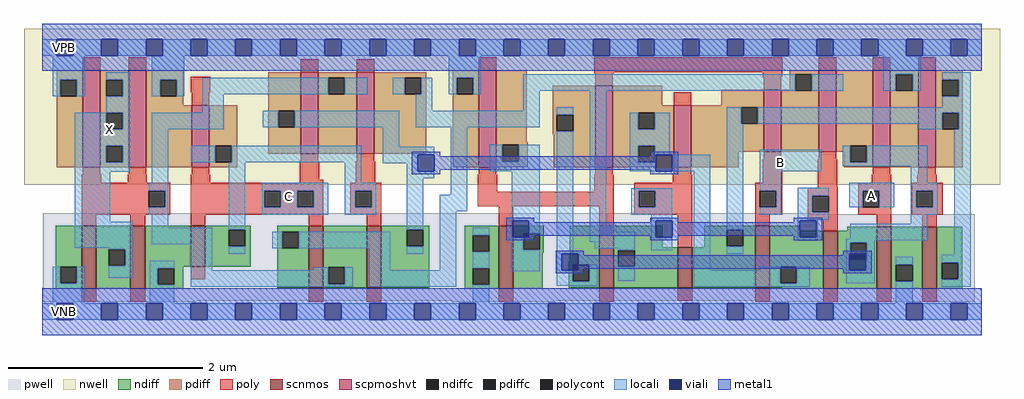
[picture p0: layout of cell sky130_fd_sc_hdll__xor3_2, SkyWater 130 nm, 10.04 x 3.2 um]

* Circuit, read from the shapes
.subckt sky130_fd_sc_hdll__xor3_2 A B C VGND VNB VPB VPWR X
XM1 X n1 VGND VNB sky130_fd_pr__nfet_01v8 w=0.65 l=0.15 m=2
XM2 n2 C VGND VNB sky130_fd_pr__nfet_01v8 w=0.42 l=0.15
XM3 n1 C n3 VNB sky130_fd_pr__nfet_01v8 w=0.64 l=0.15
XM4 n4 n2 n1 VNB sky130_fd_pr__nfet_01v8 w=0.64 l=0.15
XM5 n5 B VGND VNB sky130_fd_pr__nfet_01v8 w=0.65 l=0.15
XM6 n3 B n6 VNB sky130_fd_pr__nfet_01v8 w=0.64 l=0.15
XM7 n7 n5 n3 VNB sky130_fd_pr__nfet_01v8 w=0.42 l=0.15
XM8 n4 B n7 VNB sky130_fd_pr__nfet_01v8 w=0.64 l=0.15
XM9 n6 n5 n4 VNB sky130_fd_pr__nfet_01v8 w=0.6 l=0.15
XM10 VGND A n6 VNB sky130_fd_pr__nfet_01v8 w=0.64 l=0.15
XM11 n7 n6 VGND VNB sky130_fd_pr__nfet_01v8 w=0.64 l=0.15
XM12 X n1 VPWR VPB sky130_fd_pr__pfet_01v8_hvt w=1 l=0.18 m=2
XM13 n2 C VPWR VPB sky130_fd_pr__pfet_01v8_hvt w=0.64 l=0.18
XM14 n1 C n4 VPB sky130_fd_pr__pfet_01v8_hvt w=0.84 l=0.18
XM15 n3 n2 n1 VPB sky130_fd_pr__pfet_01v8_hvt w=0.84 l=0.18
XM16 n5 B VPWR VPB sky130_fd_pr__pfet_01v8_hvt w=1 l=0.18
XM17 n4 B n6 VPB sky130_fd_pr__pfet_01v8_hvt w=0.84 l=0.18
XM18 n7 n5 n4 VPB sky130_fd_pr__pfet_01v8_hvt w=0.64 l=0.18
XM19 n3 B n7 VPB sky130_fd_pr__pfet_01v8_hvt w=0.64 l=0.18
XM20 n6 n5 n3 VPB sky130_fd_pr__pfet_01v8_hvt w=0.84 l=0.18
XM21 VPWR A n6 VPB sky130_fd_pr__pfet_01v8_hvt w=1 l=0.18
XM22 n7 n6 VPWR VPB sky130_fd_pr__pfet_01v8_hvt w=1 l=0.18
.ends

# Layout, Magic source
magic
tech sky130A
magscale 1 2
<< nwell >>
rect -38 261 1970 582
<< pwell >>
rect 1 201 1582 203
rect 1 23 1918 201
rect 1 21 316 23
rect 843 21 1055 23
rect 1497 21 1918 23
rect 29 -17 63 21
<< scnmos >>
rect 81 47 111 177
rect 181 47 211 177
rect 305 93 335 177
rect 548 49 578 177
rect 667 49 697 177
rect 939 47 969 177
rect 1145 49 1175 177
rect 1307 49 1337 133
rect 1466 49 1496 177
rect 1606 47 1636 167
rect 1716 47 1746 175
rect 1810 47 1840 175
<< scpmoshvt >>
rect 83 297 119 497
rect 177 297 213 497
rect 307 297 343 425
rect 531 325 567 493
rect 647 325 683 493
rect 898 297 934 497
rect 1137 297 1173 465
rect 1299 297 1335 425
rect 1484 329 1520 457
rect 1597 329 1633 497
rect 1708 297 1744 497
rect 1802 297 1838 497
<< ndiff >>
rect 27 93 81 177
rect 27 59 37 93
rect 71 59 81 93
rect 27 47 81 59
rect 111 129 181 177
rect 111 95 136 129
rect 170 95 181 129
rect 111 47 181 95
rect 211 93 305 177
rect 335 169 429 177
rect 335 135 383 169
rect 417 135 429 169
rect 335 93 429 135
rect 483 165 548 177
rect 483 131 493 165
rect 527 131 548 165
rect 211 89 290 93
rect 211 55 237 89
rect 271 55 290 89
rect 211 47 290 55
rect 483 49 548 131
rect 578 91 667 177
rect 578 57 588 91
rect 622 57 667 91
rect 578 49 667 57
rect 697 169 796 177
rect 697 135 749 169
rect 783 135 796 169
rect 697 49 796 135
rect 869 157 939 177
rect 869 123 885 157
rect 919 123 939 157
rect 869 89 939 123
rect 869 55 885 89
rect 919 55 939 89
rect 869 47 939 55
rect 969 161 1031 177
rect 969 127 989 161
rect 1023 127 1031 161
rect 969 121 1031 127
rect 969 47 1029 121
rect 1085 105 1145 177
rect 1083 97 1145 105
rect 1083 63 1091 97
rect 1125 63 1145 97
rect 1083 49 1145 63
rect 1175 133 1276 177
rect 1362 169 1466 177
rect 1362 135 1408 169
rect 1442 135 1466 169
rect 1362 133 1466 135
rect 1175 126 1307 133
rect 1175 92 1185 126
rect 1219 92 1307 126
rect 1175 49 1307 92
rect 1337 49 1466 133
rect 1496 167 1556 177
rect 1656 167 1716 175
rect 1496 93 1606 167
rect 1496 59 1518 93
rect 1552 59 1606 93
rect 1496 49 1606 59
rect 1523 47 1606 49
rect 1636 142 1716 167
rect 1636 108 1662 142
rect 1696 108 1716 142
rect 1636 47 1716 108
rect 1746 97 1810 175
rect 1746 63 1756 97
rect 1790 63 1810 97
rect 1746 47 1810 63
rect 1840 101 1892 175
rect 1840 67 1850 101
rect 1884 67 1892 101
rect 1840 47 1892 67
<< pdiff >>
rect 29 477 83 497
rect 29 443 37 477
rect 71 443 83 477
rect 29 297 83 443
rect 119 477 177 497
rect 119 443 131 477
rect 165 443 177 477
rect 119 409 177 443
rect 119 375 131 409
rect 165 375 177 409
rect 119 341 177 375
rect 119 307 131 341
rect 165 307 177 341
rect 119 297 177 307
rect 213 477 290 497
rect 213 443 242 477
rect 276 443 290 477
rect 213 425 290 443
rect 213 297 307 425
rect 343 341 401 425
rect 343 307 355 341
rect 389 307 401 341
rect 465 413 531 493
rect 465 379 485 413
rect 519 379 531 413
rect 465 325 531 379
rect 567 481 647 493
rect 567 447 588 481
rect 622 447 647 481
rect 567 325 647 447
rect 683 481 790 493
rect 683 447 745 481
rect 779 447 790 481
rect 683 325 790 447
rect 844 481 898 497
rect 844 447 852 481
rect 886 447 898 481
rect 343 297 401 307
rect 844 297 898 447
rect 934 349 996 497
rect 1537 489 1597 497
rect 1050 405 1137 465
rect 1050 371 1058 405
rect 1092 371 1137 405
rect 1050 365 1137 371
rect 934 343 998 349
rect 934 309 946 343
rect 980 309 998 343
rect 934 297 998 309
rect 1052 297 1137 365
rect 1173 425 1275 465
rect 1537 457 1549 489
rect 1397 425 1484 457
rect 1173 409 1299 425
rect 1173 375 1226 409
rect 1260 375 1299 409
rect 1173 341 1299 375
rect 1173 307 1226 341
rect 1260 307 1299 341
rect 1173 297 1299 307
rect 1335 421 1484 425
rect 1335 387 1438 421
rect 1472 387 1484 421
rect 1335 329 1484 387
rect 1520 455 1549 457
rect 1583 455 1597 489
rect 1520 329 1597 455
rect 1633 341 1708 497
rect 1633 329 1662 341
rect 1335 297 1432 329
rect 1650 307 1662 329
rect 1696 307 1708 341
rect 1650 297 1708 307
rect 1744 489 1802 497
rect 1744 455 1756 489
rect 1790 455 1802 489
rect 1744 297 1802 455
rect 1838 477 1893 497
rect 1838 443 1851 477
rect 1885 443 1893 477
rect 1838 409 1893 443
rect 1838 375 1851 409
rect 1885 375 1893 409
rect 1838 297 1893 375
<< ndiffc >>
rect 37 59 71 93
rect 136 95 170 129
rect 383 135 417 169
rect 493 131 527 165
rect 237 55 271 89
rect 588 57 622 91
rect 749 135 783 169
rect 885 123 919 157
rect 885 55 919 89
rect 989 127 1023 161
rect 1091 63 1125 97
rect 1408 135 1442 169
rect 1185 92 1219 126
rect 1518 59 1552 93
rect 1662 108 1696 142
rect 1756 63 1790 97
rect 1850 67 1884 101
<< pdiffc >>
rect 37 443 71 477
rect 131 443 165 477
rect 131 375 165 409
rect 131 307 165 341
rect 242 443 276 477
rect 355 307 389 341
rect 485 379 519 413
rect 588 447 622 481
rect 745 447 779 481
rect 852 447 886 481
rect 1058 371 1092 405
rect 946 309 980 343
rect 1226 375 1260 409
rect 1226 307 1260 341
rect 1438 387 1472 421
rect 1549 455 1583 489
rect 1662 307 1696 341
rect 1756 455 1790 489
rect 1851 443 1885 477
rect 1851 375 1885 409
<< poly >>
rect 83 497 119 523
rect 177 497 213 523
rect 531 493 567 519
rect 647 493 683 519
rect 898 497 934 523
rect 305 451 345 483
rect 307 425 343 451
rect 531 310 567 325
rect 647 310 683 325
rect 83 282 119 297
rect 177 282 213 297
rect 307 282 343 297
rect 81 265 121 282
rect 175 265 215 282
rect 305 265 345 282
rect 529 271 569 310
rect 529 265 578 271
rect 645 265 685 310
rect 1135 493 1522 523
rect 1597 497 1633 523
rect 1708 497 1744 523
rect 1802 497 1838 523
rect 1135 491 1175 493
rect 1137 465 1173 491
rect 1482 483 1522 493
rect 1484 457 1520 483
rect 1299 425 1335 451
rect 1484 314 1520 329
rect 1597 314 1633 329
rect 898 282 934 297
rect 1137 282 1173 297
rect 1299 282 1335 297
rect 81 249 263 265
rect 81 215 219 249
rect 253 215 263 249
rect 81 199 263 215
rect 305 249 578 265
rect 305 215 456 249
rect 490 215 524 249
rect 558 215 578 249
rect 305 199 578 215
rect 633 249 697 265
rect 633 215 643 249
rect 677 215 697 249
rect 896 247 936 282
rect 1135 247 1175 282
rect 1297 265 1337 282
rect 1482 265 1522 314
rect 896 217 1175 247
rect 633 199 697 215
rect 81 177 111 199
rect 181 177 211 199
rect 305 177 335 199
rect 548 177 578 199
rect 667 177 697 199
rect 939 177 969 217
rect 1145 177 1175 217
rect 1217 249 1337 265
rect 1217 215 1227 249
rect 1261 215 1337 249
rect 1217 199 1337 215
rect 305 67 335 93
rect 81 21 111 47
rect 181 21 211 47
rect 548 21 578 49
rect 667 21 697 49
rect 1307 133 1337 199
rect 1466 249 1522 265
rect 1595 256 1635 314
rect 1708 282 1744 297
rect 1802 282 1838 297
rect 1706 265 1746 282
rect 1800 265 1840 282
rect 1595 255 1636 256
rect 1466 215 1476 249
rect 1510 215 1522 249
rect 1466 199 1522 215
rect 1574 239 1636 255
rect 1574 205 1584 239
rect 1618 205 1636 239
rect 1466 177 1496 199
rect 1574 189 1636 205
rect 1678 249 1746 265
rect 1678 215 1688 249
rect 1722 215 1746 249
rect 1678 199 1746 215
rect 1788 249 1852 265
rect 1788 215 1798 249
rect 1832 215 1852 249
rect 1788 199 1852 215
rect 1606 167 1636 189
rect 1716 175 1746 199
rect 1810 175 1840 199
rect 939 21 969 47
rect 1145 21 1175 49
rect 1307 23 1337 49
rect 1466 21 1496 49
rect 1606 21 1636 47
rect 1716 21 1746 47
rect 1810 21 1840 47
<< polycont >>
rect 219 215 253 249
rect 456 215 490 249
rect 524 215 558 249
rect 643 215 677 249
rect 1227 215 1261 249
rect 1476 215 1510 249
rect 1584 205 1618 239
rect 1688 215 1722 249
rect 1798 215 1832 249
<< locali >>
rect 0 527 29 561
rect 63 527 121 561
rect 155 527 213 561
rect 247 527 305 561
rect 339 527 397 561
rect 431 527 489 561
rect 523 527 581 561
rect 615 527 673 561
rect 707 527 765 561
rect 799 527 857 561
rect 891 527 949 561
rect 983 527 1041 561
rect 1075 527 1133 561
rect 1167 527 1225 561
rect 1259 527 1317 561
rect 1351 527 1409 561
rect 1443 527 1501 561
rect 1535 527 1593 561
rect 1627 527 1685 561
rect 1719 527 1777 561
rect 1811 527 1869 561
rect 1903 527 1932 561
rect 21 477 87 527
rect 21 443 37 477
rect 71 443 87 477
rect 131 477 181 493
rect 165 443 181 477
rect 225 477 292 527
rect 836 481 902 527
rect 1730 489 1807 527
rect 225 443 242 477
rect 276 443 292 477
rect 329 447 588 481
rect 622 447 668 481
rect 721 447 745 481
rect 779 447 802 481
rect 836 447 852 481
rect 886 447 902 481
rect 989 455 1549 489
rect 1583 455 1648 489
rect 1730 455 1756 489
rect 1790 455 1807 489
rect 1851 477 1910 493
rect 131 409 181 443
rect 329 409 373 447
rect 768 413 802 447
rect 989 413 1023 455
rect 66 375 131 409
rect 165 375 181 409
rect 66 341 181 375
rect 66 307 131 341
rect 165 307 181 341
rect 66 288 181 307
rect 225 375 373 409
rect 453 379 485 413
rect 519 379 734 413
rect 768 379 1023 413
rect 1058 405 1092 421
rect 66 185 139 288
rect 225 265 259 375
rect 306 307 355 341
rect 389 307 656 341
rect 219 249 259 265
rect 253 215 259 249
rect 219 199 259 215
rect 66 132 186 185
rect 225 173 259 199
rect 225 139 349 173
rect 136 129 186 132
rect 170 95 186 129
rect 21 59 37 93
rect 71 59 87 93
rect 136 70 186 95
rect 221 89 271 105
rect 21 17 87 59
rect 221 55 237 89
rect 221 17 271 55
rect 305 85 349 139
rect 383 169 417 307
rect 622 265 656 307
rect 700 339 734 379
rect 700 323 806 339
rect 700 305 772 323
rect 749 289 772 305
rect 749 275 806 289
rect 451 249 588 265
rect 451 215 456 249
rect 490 215 524 249
rect 558 215 588 249
rect 451 199 588 215
rect 622 249 687 265
rect 622 215 643 249
rect 677 215 687 249
rect 622 199 687 215
rect 749 169 783 275
rect 840 241 874 379
rect 920 309 946 343
rect 980 309 1023 343
rect 920 289 1023 309
rect 383 119 417 135
rect 473 131 493 165
rect 527 131 715 165
rect 557 85 588 91
rect 305 57 588 85
rect 622 57 638 91
rect 305 51 638 57
rect 672 85 715 131
rect 749 119 783 135
rect 817 207 874 241
rect 817 85 851 207
rect 965 187 1023 289
rect 672 51 851 85
rect 885 157 919 173
rect 885 89 919 123
rect 965 153 966 187
rect 1000 161 1023 187
rect 965 127 989 153
rect 965 83 1023 127
rect 1058 119 1092 371
rect 1126 178 1160 455
rect 1885 443 1910 477
rect 1851 421 1910 443
rect 1208 375 1226 409
rect 1260 375 1291 409
rect 1208 341 1291 375
rect 1208 307 1226 341
rect 1260 323 1291 341
rect 1408 387 1438 421
rect 1472 409 1910 421
rect 1472 387 1851 409
rect 1260 307 1262 323
rect 1208 289 1262 307
rect 1296 289 1374 323
rect 1211 249 1296 254
rect 1211 215 1227 249
rect 1261 215 1296 249
rect 1211 199 1296 215
rect 1253 187 1296 199
rect 1126 165 1180 178
rect 1126 144 1219 165
rect 1136 131 1219 144
rect 1185 126 1219 131
rect 1253 153 1262 187
rect 1253 126 1296 153
rect 1058 85 1068 119
rect 885 17 919 55
rect 1058 63 1091 85
rect 1125 63 1141 97
rect 1185 64 1219 92
rect 1340 85 1374 289
rect 1408 169 1442 387
rect 1803 375 1851 387
rect 1885 375 1910 409
rect 1476 289 1602 333
rect 1646 307 1662 341
rect 1696 307 1820 341
rect 1646 299 1820 307
rect 1476 249 1520 289
rect 1786 265 1820 299
rect 1510 215 1520 249
rect 1476 199 1520 215
rect 1554 239 1618 255
rect 1554 205 1584 239
rect 1660 249 1752 265
rect 1660 215 1688 249
rect 1722 215 1752 249
rect 1786 249 1842 265
rect 1786 215 1798 249
rect 1832 215 1842 249
rect 1554 189 1618 205
rect 1786 199 1842 215
rect 1554 187 1595 189
rect 1554 153 1558 187
rect 1592 153 1595 187
rect 1786 181 1820 199
rect 1554 146 1595 153
rect 1662 150 1820 181
rect 1654 147 1820 150
rect 1408 119 1442 135
rect 1654 142 1712 147
rect 1654 119 1662 142
rect 1476 85 1518 93
rect 1058 53 1141 63
rect 1340 59 1518 85
rect 1552 59 1579 93
rect 1654 85 1660 119
rect 1696 108 1712 142
rect 1876 117 1910 375
rect 1694 85 1712 108
rect 1654 59 1712 85
rect 1756 97 1790 113
rect 1340 51 1579 59
rect 1756 17 1790 63
rect 1850 101 1910 117
rect 1884 67 1910 101
rect 1850 51 1910 67
rect 0 -17 29 17
rect 63 -17 121 17
rect 155 -17 213 17
rect 247 -17 305 17
rect 339 -17 397 17
rect 431 -17 489 17
rect 523 -17 581 17
rect 615 -17 673 17
rect 707 -17 765 17
rect 799 -17 857 17
rect 891 -17 949 17
rect 983 -17 1041 17
rect 1075 -17 1133 17
rect 1167 -17 1225 17
rect 1259 -17 1317 17
rect 1351 -17 1409 17
rect 1443 -17 1501 17
rect 1535 -17 1593 17
rect 1627 -17 1685 17
rect 1719 -17 1777 17
rect 1811 -17 1869 17
rect 1903 -17 1932 17
<< viali >>
rect 29 527 63 561
rect 121 527 155 561
rect 213 527 247 561
rect 305 527 339 561
rect 397 527 431 561
rect 489 527 523 561
rect 581 527 615 561
rect 673 527 707 561
rect 765 527 799 561
rect 857 527 891 561
rect 949 527 983 561
rect 1041 527 1075 561
rect 1133 527 1167 561
rect 1225 527 1259 561
rect 1317 527 1351 561
rect 1409 527 1443 561
rect 1501 527 1535 561
rect 1593 527 1627 561
rect 1685 527 1719 561
rect 1777 527 1811 561
rect 1869 527 1903 561
rect 772 289 806 323
rect 966 161 1000 187
rect 966 153 989 161
rect 989 153 1000 161
rect 1262 289 1296 323
rect 1262 153 1296 187
rect 1068 97 1102 119
rect 1068 85 1091 97
rect 1091 85 1102 97
rect 1558 153 1592 187
rect 1660 108 1662 119
rect 1662 108 1694 119
rect 1660 85 1694 108
rect 29 -17 63 17
rect 121 -17 155 17
rect 213 -17 247 17
rect 305 -17 339 17
rect 397 -17 431 17
rect 489 -17 523 17
rect 581 -17 615 17
rect 673 -17 707 17
rect 765 -17 799 17
rect 857 -17 891 17
rect 949 -17 983 17
rect 1041 -17 1075 17
rect 1133 -17 1167 17
rect 1225 -17 1259 17
rect 1317 -17 1351 17
rect 1409 -17 1443 17
rect 1501 -17 1535 17
rect 1593 -17 1627 17
rect 1685 -17 1719 17
rect 1777 -17 1811 17
rect 1869 -17 1903 17
<< metal1 >>
rect 0 561 1932 592
rect 0 527 29 561
rect 63 527 121 561
rect 155 527 213 561
rect 247 527 305 561
rect 339 527 397 561
rect 431 527 489 561
rect 523 527 581 561
rect 615 527 673 561
rect 707 527 765 561
rect 799 527 857 561
rect 891 527 949 561
rect 983 527 1041 561
rect 1075 527 1133 561
rect 1167 527 1225 561
rect 1259 527 1317 561
rect 1351 527 1409 561
rect 1443 527 1501 561
rect 1535 527 1593 561
rect 1627 527 1685 561
rect 1719 527 1777 561
rect 1811 527 1869 561
rect 1903 527 1932 561
rect 0 496 1932 527
rect 760 323 818 329
rect 760 289 772 323
rect 806 320 818 323
rect 1250 323 1308 329
rect 1250 320 1262 323
rect 806 292 1262 320
rect 806 289 818 292
rect 760 283 818 289
rect 1250 289 1262 292
rect 1296 289 1308 323
rect 1250 283 1308 289
rect 954 187 1012 193
rect 954 153 966 187
rect 1000 184 1012 187
rect 1250 187 1308 193
rect 1250 184 1262 187
rect 1000 156 1262 184
rect 1000 153 1012 156
rect 954 147 1012 153
rect 1250 153 1262 156
rect 1296 184 1308 187
rect 1546 187 1604 193
rect 1546 184 1558 187
rect 1296 156 1558 184
rect 1296 153 1308 156
rect 1250 147 1308 153
rect 1546 153 1558 156
rect 1592 153 1604 187
rect 1546 147 1604 153
rect 1056 119 1114 125
rect 1056 85 1068 119
rect 1102 116 1114 119
rect 1648 119 1706 125
rect 1648 116 1660 119
rect 1102 88 1660 116
rect 1102 85 1114 88
rect 1056 79 1114 85
rect 1648 85 1660 88
rect 1694 85 1706 119
rect 1648 79 1706 85
rect 0 17 1932 48
rect 0 -17 29 17
rect 63 -17 121 17
rect 155 -17 213 17
rect 247 -17 305 17
rect 339 -17 397 17
rect 431 -17 489 17
rect 523 -17 581 17
rect 615 -17 673 17
rect 707 -17 765 17
rect 799 -17 857 17
rect 891 -17 949 17
rect 983 -17 1041 17
rect 1075 -17 1133 17
rect 1167 -17 1225 17
rect 1259 -17 1317 17
rect 1351 -17 1409 17
rect 1443 -17 1501 17
rect 1535 -17 1593 17
rect 1627 -17 1685 17
rect 1719 -17 1777 17
rect 1811 -17 1869 17
rect 1903 -17 1932 17
rect 0 -48 1932 -17
<< labels >>
flabel locali s 121 357 155 391 0 FreeSans 340 0 0 0 X
port 8 nsew signal output
flabel locali s 490 221 524 255 0 FreeSans 340 0 0 0 C
port 3 nsew signal input
flabel locali s 1502 289 1536 323 0 FreeSans 340 0 0 0 B
port 2 nsew signal input
flabel locali s 1660 215 1752 265 0 FreeSans 340 0 0 0 A
port 1 nsew signal input
flabel pwell s 29 -17 63 17 0 FreeSans 200 0 0 0 VNB
port 5 nsew ground bidirectional
flabel nwell s 29 527 63 561 0 FreeSans 200 0 0 0 VPB
port 6 nsew power bidirectional
flabel metal1 s 29 -17 63 17 0 FreeSans 200 0 0 0 VGND
port 4 nsew ground bidirectional
flabel metal1 s 29 527 63 561 0 FreeSans 200 0 0 0 VPWR
port 7 nsew power bidirectional
rlabel comment s 0 0 0 0 4 xor3_2
<< properties >>
string LEFsite unithd
string LEFclass CORE
string FIXED_BBOX 0 0 1932 544
string GDS_FILE $PDKPATH/libs.ref/sky130_fd_sc_hdll/gds/sky130_fd_sc_hdll.gds
string LEFsymmetry X Y R90
string GDS_END 2985110
string GDS_START 2972290
string LEFproperties maskLayoutSubType "abstract" prCellType "standard" originalViewName "layout"
<< end >>
